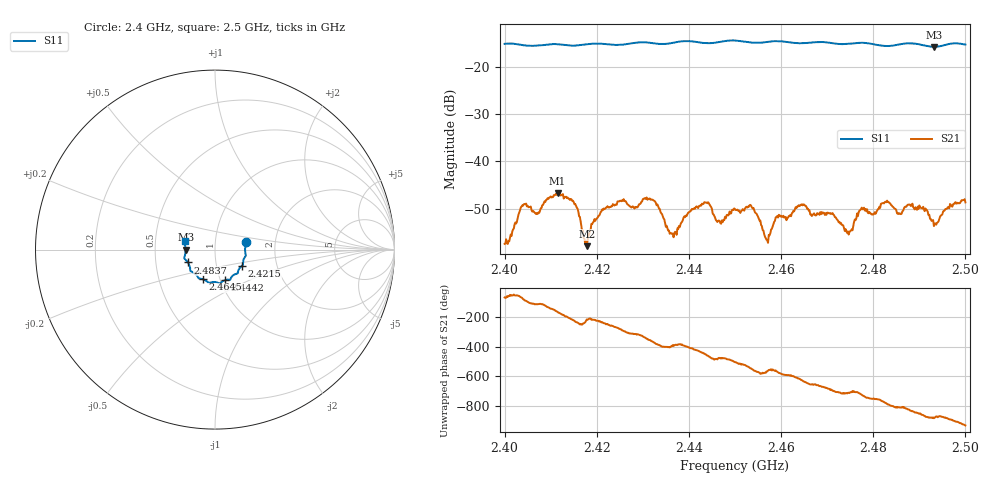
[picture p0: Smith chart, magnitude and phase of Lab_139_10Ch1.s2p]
# Hz S RI R 50
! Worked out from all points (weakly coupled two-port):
!   601 points, 2.4 GHz to 2.5 GHz, reference 50 ohm
!   highest |S21| = -46.80 dB at 2.4115 GHz (marker M1); lowest = -58.0 dB at 2.4178 GHz (marker M2)
!   lowest |S11| = -15.7 dB at 2.4932 GHz (marker M3), VSWR 1.39, Z = 35.9 - j0.0469 ohm
!   |S11| at or under -10 dB: start of sweep to end of sweep
!   S12 and S22 are empty: the file has one direction only
!   S11 on the Smith chart (normalised r, x): 2.4 GHz: 1.41, +0.12; 2.4215 GHz: 1.33, -0.25; 2.4442 GHz: 1.05, -0.37; 2.4645 GHz: 0.83, -0.29; 2.4837 GHz: 0.73, -0.11; 2.5 GHz: 0.71, +0.07
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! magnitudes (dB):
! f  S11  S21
! 2.4 GHz  -15.1  -57.5
! 2.404 GHz  -15.4  -49.4
! 2.4115 GHz  -15.2  -46.8
! 2.415 GHz  -15.5  -48.6
! 2.4167 GHz  -15.3  -53.7
! 2.4178 GHz  -15.2  -58.0
! 2.4215 GHz  -15.1  -50.0
! 2.4333 GHz  -15.1  -49.5
! 2.4368 GHz  -14.8  -55.2
! 2.4442 GHz  -15.0  -48.6
! 2.4465 GHz  -14.7  -52.5
! 2.45 GHz  -14.4  -50.1
! 2.4537 GHz  -14.8  -49.7
! 2.457 GHz  -14.7  -56.8
! 2.4645 GHz  -15.0  -49.1
! 2.4667 GHz  -14.8  -51.6
! 2.4747 GHz  -15.1  -55.5
! 2.4775 GHz  -14.9  -49.8
! 2.4833 GHz  -15.6  -48.6
! 2.4837 GHz  -15.5  -48.9
! 2.4932 GHz  -15.7  -53.7
! 2.5 GHz  -15.3  -48.7
